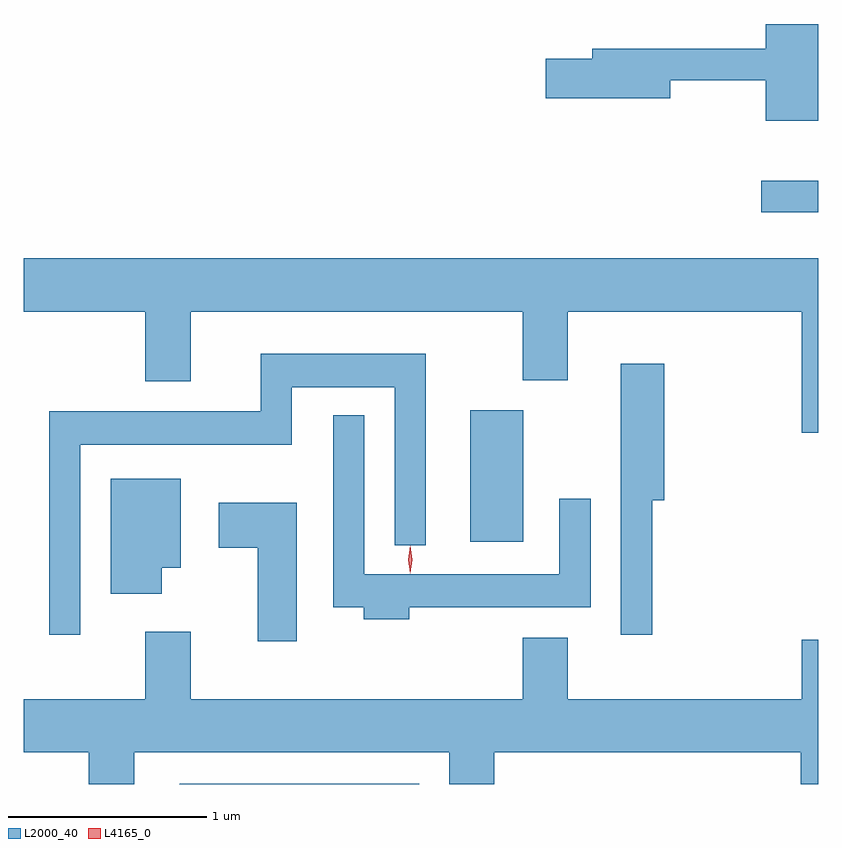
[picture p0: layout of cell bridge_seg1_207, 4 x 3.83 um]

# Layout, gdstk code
import gdstk
lib = gdstk.Library(unit=1e-6, precision=1e-09)
def R(c, l, rs):  # rectangles x0, y0, x1, y1
    for r in rs: c.add(gdstk.rectangle(r[:2], r[2:], *l))
def P(c, l, *ps):  # polygons
    for p in ps: c.add(gdstk.Polygon(p, *l))
L2000_40 = (2000, 40)
L4165_0 = (4165, 0)

bridge_seg1_207 = lib.new_cell('bridge_seg1_207')
R(bridge_seg1_207, L2000_40, [(812.806,967.236,813.074,967.899), (814.273,968.896,814.559,969.054)])
P(bridge_seg1_207, L2000_40, [(814.559,969.844),(814.296,969.844),(814.296,969.719),(813.421,969.719),(813.421,969.669),(813.186,969.669),(813.186,969.471),(813.814,969.471),(813.814,969.561),(814.296,969.561),(814.296,969.356),(814.559,969.356)],
  [(814.559,968.664),(810.559,968.664),(810.559,968.396),(811.171,968.396),(811.171,968.046),(811.399,968.046),(811.399,968.396),(813.071,968.396),(813.071,968.051),(813.299,968.051),(813.299,968.396),(814.476,968.396),(814.476,967.786),(814.559,967.786)],
  [(810.844,967.726),(811.909,967.726),(811.909,968.016),(812.426,968.016),(812.426,967.218),(812.584,967.218),(812.584,968.184),(811.751,968.184),(811.751,967.894),(810.686,967.894),(810.686,966.768),(810.844,966.768)],
  [(813.724,967.446),(813.784,967.446),(813.784,968.134),(813.566,968.134),(813.566,966.768),(813.724,966.768)],
  [(812.499,966.906),(813.414,966.906),(813.414,967.453),(813.256,967.453),(813.256,967.074),(812.274,967.074),(812.274,967.873),(812.116,967.873),(812.116,966.906),(812.271,966.906),(812.271,966.846),(812.499,966.846)],
  [(811.254,967.106),(811.349,967.106),(811.349,967.554),(810.996,967.554),(810.996,966.976),(811.254,966.976)],
  [(811.934,967.434),(811.541,967.434),(811.541,967.206),(811.736,967.206),(811.736,966.736),(811.934,966.736)],
  [(811.114,966.176),(812.701,966.176),(812.701,966.017),(812.929,966.017),(812.929,966.176),(814.471,966.176),(814.471,966.017),(814.559,966.017),(814.559,966.744),(814.476,966.744),(814.476,966.444),(813.299,966.444),(813.299,966.754),(813.071,966.754),(813.071,966.444),(811.399,966.444),(811.399,966.784),(811.171,966.784),(811.171,966.444),(810.559,966.444),(810.559,966.176),(810.886,966.176),(810.886,966.017),(811.114,966.017)],
  [(812.549,966.019),(811.344,966.019),(811.342,966.017),(812.549,966.017)])
P(bridge_seg1_207, L4165_0, [(812.505,967.08),(812.505,967.08),(812.495,967.146),(812.505,967.212),(812.505,967.213),(812.506,967.212),(812.515,967.146),(812.506,967.08)],
  [(812.505,967.077),(812.505,967.077),(812.495,967.147),(812.505,967.216),(812.505,967.216),(812.506,967.216),(812.515,967.147),(812.506,967.077)])

lib.write_gds('bridge_seg1_207.gds')
